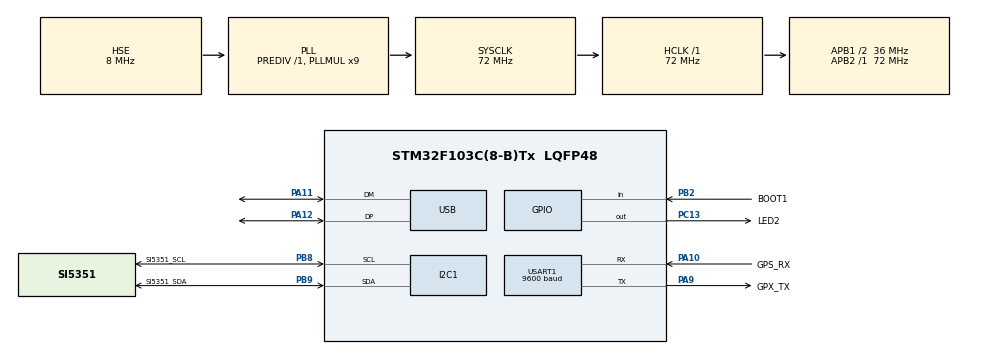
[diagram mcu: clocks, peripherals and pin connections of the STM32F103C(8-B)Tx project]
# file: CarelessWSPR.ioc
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FREERTOS.INCLUDE_uxTaskGetStackHighWaterMark=1
FREERTOS.MEMORY_ALLOCATION=2
FREERTOS.Tasks01=defaultTask,0,128,StartDefaultTask,Default,NULL,Static,defaultTaskBuffer,defaultTaskControlBlock
FREERTOS.configCHECK_FOR_STACK_OVERFLOW=2
FREERTOS.configGENERATE_RUN_TIME_STATS=0
FREERTOS.configRECORD_STACK_HIGH_ADDRESS=0
FREERTOS.configTOTAL_HEAP_SIZE=4096
FREERTOS.configUSE_MALLOC_FAILED_HOOK=1
I2C1.I2C_Mode=I2C_Fast
Mcu.Family=STM32F1
Mcu.Name=STM32F103C(8-B)Tx
Mcu.Package=LQFP48
NVIC.I2C1_ER_IRQn=true\:5\:0\:false\:false\:true\:true\:true\:true
NVIC.I2C1_EV_IRQn=true\:5\:0\:false\:false\:true\:true\:true\:true
NVIC.PriorityGroup=NVIC_PRIORITYGROUP_4
NVIC.RTC_Alarm_IRQn=true\:5\:0\:false\:false\:true\:true\:true\:true
NVIC.TIM2_IRQn=true\:0\:0\:false\:false\:true\:false\:false\:true
NVIC.TIM4_IRQn=true\:5\:0\:false\:false\:true\:true\:true\:true
NVIC.TimeBase=TIM2_IRQn
NVIC.TimeBaseIP=TIM2
NVIC.USART1_IRQn=true\:5\:0\:false\:false\:true\:true\:true\:true
NVIC.USB_LP_CAN1_RX0_IRQn=true\:5\:0\:false\:false\:true\:true\:true\:true
PA10.GPIO_Label=GPS_RX
PA10.Mode=Asynchronous
PA10.Signal=USART1_RX
PA11.Mode=Device
PA11.Signal=USB_DM
PA12.Mode=Device
PA12.Signal=USB_DP
PA13.Mode=Serial_Wire
PA13.Signal=SYS_JTMS-SWDIO
PA14.Mode=Serial_Wire
PA14.Signal=SYS_JTCK-SWCLK
PA9.GPIO_Label=GPX_TX
PA9.Mode=Asynchronous
PA9.Signal=USART1_TX
PB2.GPIO_Label=BOOT1
PB2.Signal=GPIO_Input
PB8.GPIO_Label=SI5351_SCL
PB8.Mode=I2C
PB8.Signal=I2C1_SCL
PB9.GPIO_Label=SI5351_SDA
PB9.Mode=I2C
PB9.Signal=I2C1_SDA
PC13-TAMPER-RTC.GPIO_Label=LED2
PC13-TAMPER-RTC.PinState=GPIO_PIN_SET
PC13-TAMPER-RTC.Signal=GPIO_Output
PC14-OSC32_IN.Mode=LSE-External-Oscillator
PC14-OSC32_IN.Signal=RCC_OSC32_IN
PC15-OSC32_OUT.Mode=LSE-External-Oscillator
PC15-OSC32_OUT.Signal=RCC_OSC32_OUT
PD0-OSC_IN.Mode=HSE-External-Oscillator
PD0-OSC_IN.Signal=RCC_OSC_IN
PD1-OSC_OUT.Mode=HSE-External-Oscillator
PD1-OSC_OUT.Signal=RCC_OSC_OUT
ProjectManager.HeapSize=0x200
ProjectManager.StackSize=0x400
ProjectManager.TargetToolchain=SW4STM32
RCC.AHBFreq_Value=72000000
RCC.APB1CLKDivider=RCC_HCLK_DIV2
RCC.APB1Freq_Value=36000000
RCC.APB1TimFreq_Value=72000000
RCC.APB2Freq_Value=72000000
RCC.APB2TimFreq_Value=72000000
RCC.HCLKFreq_Value=72000000
RCC.PLLMUL=RCC_PLL_MUL9
RCC.RTCClockSelection=RCC_RTCCLKSOURCE_LSE
RCC.SYSCLKFreq_VALUE=72000000
RCC.SYSCLKSource=RCC_SYSCLKSOURCE_PLLCLK
RCC.USBFreq_Value=48000000
RCC.USBPrescaler=RCC_USBCLKSOURCE_PLL_DIV1_5
RTC.Date=26
RTC.Format=RTC_FORMAT_BIN
RTC.Month=RTC_MONTH_JULY
RTC.WeekDay=RTC_WEEKDAY_FRIDAY
RTC.Year=19
TIM4.Period=11999
TIM4.Prescaler=4095
USART1.BaudRate=9600
USART1.Mode=MODE_TX_RX
USART1.VirtualMode=VM_ASYNC
USB_DEVICE.CLASS_NAME_FS=CDC
USB_DEVICE.VirtualMode=Cdc
USB_DEVICE.VirtualModeFS=Cdc_FS
VP_FREERTOS_VS_CMSIS_V1.Mode=CMSIS_V1
VP_RTC_No_RTC_Output.Mode=RTC_OUT_NO
VP_RTC_VS_RTC_Activate.Mode=RTC_Enabled
VP_SYS_VS_tim2.Mode=TIM2
VP_TIM4_VS_ClockSourceINT.Mode=Internal
VP_USB_DEVICE_VS_USB_DEVICE_CDC_FS.Mode=CDC_FS
board=BluePill

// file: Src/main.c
/* USER CODE BEGIN Header */
/**
  ******************************************************************************
  * @file           : main.c
  * @brief          : Main program body
  ******************************************************************************
  * @attention
  *
  * <h2><center>&copy; Copyright (c) 2019 STMicroelectronics.
  * All rights reserved.</center></h2>
  *
  * This software component is licensed by ST under Ultimate Liberty license
  * SLA0044, the "License"; You may not use this file except in compliance with
  * the License. You may obtain a copy of the License at:
  *                             www.st.com/SLA0044
  *
  ******************************************************************************
  */
/* USER CODE END Header */

#include "main.h"
#include "cmsis_os.h"
#include "usb_device.h"

/* USER CODE BEGIN Includes */

#include "usbd_cdc.h"	//just for the XXX_USBCDC_PresenceHack()
#include "system_interfaces.h"
#include "serial_devices.h"
#include "util_circbuff2.h"

#include "lamps.h"
#include "task_notification_bits.h"

#include "CarelessWSPR_settings.h"

#include "task_monitor.h"
#include "task_gps.h"
#include "task_wspr.h"

#include "maidenhead.h"
#include "si5351a.h"
#include "wspr.h"

#include "backup_registers.h"

#ifndef COUNTOF
#define COUNTOF(arr) (sizeof(arr)/sizeof(arr[0]))
#endif

//This controls whether we use the FreeRTOS heap implementation to also provide
//the libc malloc() and friends.
#define USE_FREERTOS_HEAP_IMPL 1

volatile int dummy;	//XXX for debugging; delete
#ifdef DEBUG
volatile size_t g_nHeapFree;
volatile size_t g_nMinEverHeapFree;
volatile int g_nMaxGPSRxQueue;
volatile int g_nMaxCDCTxQueue;
volatile int g_nMaxCDCRxQueue;
volatile int g_nMinStackFreeDefault;
volatile int g_nMinStackFreeMonitor;
volatile int g_nMinStackFreeGPS;
volatile int g_nMinStackFreeWSPR;
#endif

#if USE_FREERTOS_HEAP_IMPL

#if configAPPLICATION_ALLOCATED_HEAP
//we define our heap (to be used by FreeRTOS heap_4.c implementation) to be
//exactly where we want it to be.
__attribute__((aligned(8)))
uint8_t ucHeap[ configTOTAL_HEAP_SIZE ];
#endif
//we implemented a 'realloc' for a heap_4 derived implementation
extern void* pvPortRealloc( void* pvOrig, size_t xWantedSize );
//we implemented a 'heapwalk' function
typedef int (*CBK_HEAPWALK) ( void* pblk, uint32_t nBlkSize, int bIsFree, void* pinst );
extern int vPortHeapWalk ( CBK_HEAPWALK pfnWalk, void* pinst );

//'wrapped functions' for library interpositioning
//you must specify these gcc (linker-directed) options to cause the wrappers'
//delights to be generated:

//-Wl,--wrap,malloc -Wl,--wrap,free -Wl,--wrap,realloc -Wl,--wrap,calloc
//-Wl,--wrap,_malloc_r -Wl,--wrap,_free_r -Wl,--wrap,_realloc_r -Wl,--wrap,_calloc_r

//hmm; can I declare these 'inline' and save a little code and stack?
void* __wrap_malloc ( size_t size ) { return pvPortMalloc ( size ); }
void __wrap_free ( void* pv ) { vPortFree ( pv ); }
void* __wrap_realloc ( void* pv, size_t size ) { return pvPortRealloc ( pv, size ); }

void* __wrap__malloc_r ( struct _reent* r, size_t size ) { return pvPortMalloc ( size ); }
void __wrap__free_r ( struct _reent* r, void* pv ) { vPortFree ( pv ); }
void* __wrap__realloc_r ( struct _reent* r, void* pv, size_t size ) { return pvPortRealloc ( pv, size ); }

#endif

/* USER CODE END Includes */

I2C_HandleTypeDef hi2c1;

RTC_HandleTypeDef hrtc;

TIM_HandleTypeDef htim4;

UART_HandleTypeDef huart1;

osThreadId defaultTaskHandle;
uint32_t defaultTaskBuffer[ 128 ];
osStaticThreadDef_t defaultTaskControlBlock;

void SystemClock_Config(void);
static void MX_GPIO_Init(void);
static void MX_RTC_Init(void);
static void MX_I2C1_Init(void);
static void MX_USART1_UART_Init(void);
static void MX_TIM4_Init(void);
void StartDefaultTask(void const * argument);

int main(void)
{
  /* USER CODE BEGIN 1 */
	//enable the core debug cycle counter to be used as a precision timer
	CoreDebug->DEMCR |= CoreDebug_DEMCR_TRCENA_Msk;
	DWT->CYCCNT = 0;
	DWT->CTRL |= DWT_CTRL_CYCCNTENA_Msk;
  /* USER CODE END 1 */

  /* MCU Configuration--------------------------------------------------------*/

  /* Reset of all peripherals, Initializes the Flash interface and the Systick. */
  HAL_Init();

  /* USER CODE BEGIN Init */

	//if you get a linker fail on the following, it is because some manual
	//changes to:
	//  .\Middlewares\ST\STM32_USB_Device_Library\Class\CDC\Inc\usbd_cdc.h
	//  .\Middlewares\ST\STM32_USB_Device_Library\Class\CDC\Src\usbd_cdc.c
	//  .\Src\usbd_cdc_if.c
	//must be applied.  There are backups of those files to help with that.
	//This has to be done manually, because the changes are in tool generated
	//code that gets overwritten when you re-run STM32CubeMX.  The nature of
	//those changes are such that when they are overwritten, you will still
	//be able to build but stuff won't work at runtime.  This hack will cause
	//the build to fail if you forget to merge those changes back on, thus
	//prompting you to do so.
	//Sorry for the inconvenience, but I don't think there is any better way
	//of making it obvious that this chore simply must be done.
	XXX_USBCDC_PresenceHack();	//this does nothing real; do not delete

  /* USER CODE END Init */

  /* Configure the system clock */
  SystemClock_Config();

  /* USER CODE BEGIN SysInit */

	//do a dummy alloc to cause the heap to be init'ed and so the memory stats as well
	vPortFree ( pvPortMalloc ( 0 ) );

	//get system config depersisted from flash before we do much more
	Settings_depersist();

  /* USER CODE END SysInit */

  /* Initialize all configured peripherals */
  MX_GPIO_Init();
  MX_RTC_Init();
  MX_I2C1_Init();
  MX_USART1_UART_Init();
  MX_TIM4_Init();

  /* Create the thread(s) */
  /* definition and creation of defaultTask */
  osThreadStaticDef(defaultTask, StartDefaultTask, osPriorityNormal, 0, 128, defaultTaskBuffer, &defaultTaskControlBlock);
  defaultTaskHandle = osThreadCreate(osThread(defaultTask), NULL);

  /* Start scheduler */
  osKernelStart();

  /* We should never get here as control is now taken by the scheduler */

  /* Infinite loop */
  while (1)
  {

  }
}

void SystemClock_Config(void)
{
  RCC_OscInitTypeDef RCC_OscInitStruct = {0};
  RCC_ClkInitTypeDef RCC_ClkInitStruct = {0};
  RCC_PeriphCLKInitTypeDef PeriphClkInit = {0};

  /** Initializes the CPU, AHB and APB busses clocks
  */
  RCC_OscInitStruct.OscillatorType = RCC_OSCILLATORTYPE_HSE|RCC_OSCILLATORTYPE_LSE;
  RCC_OscInitStruct.HSEState = RCC_HSE_ON;
  RCC_OscInitStruct.HSEPredivValue = RCC_HSE_PREDIV_DIV1;
  RCC_OscInitStruct.LSEState = RCC_LSE_ON;
  RCC_OscInitStruct.HSIState = RCC_HSI_ON;
  RCC_OscInitStruct.PLL.PLLState = RCC_PLL_ON;
  RCC_OscInitStruct.PLL.PLLSource = RCC_PLLSOURCE_HSE;
  RCC_OscInitStruct.PLL.PLLMUL = RCC_PLL_MUL9;
  if (HAL_RCC_OscConfig(&RCC_OscInitStruct) != HAL_OK)
  {
    Error_Handler();
  }
  /** Initializes the CPU, AHB and APB busses clocks
  */
  RCC_ClkInitStruct.ClockType = RCC_CLOCKTYPE_HCLK|RCC_CLOCKTYPE_SYSCLK
                              |RCC_CLOCKTYPE_PCLK1|RCC_CLOCKTYPE_PCLK2;
  RCC_ClkInitStruct.SYSCLKSource = RCC_SYSCLKSOURCE_PLLCLK;
  RCC_ClkInitStruct.AHBCLKDivider = RCC_SYSCLK_DIV1;
  RCC_ClkInitStruct.APB1CLKDivider = RCC_HCLK_DIV2;
  RCC_ClkInitStruct.APB2CLKDivider = RCC_HCLK_DIV1;

  if (HAL_RCC_ClockConfig(&RCC_ClkInitStruct, FLASH_LATENCY_2) != HAL_OK)
  {
    Error_Handler();
  }
  PeriphClkInit.PeriphClockSelection = RCC_PERIPHCLK_RTC|RCC_PERIPHCLK_USB;
  PeriphClkInit.RTCClockSelection = RCC_RTCCLKSOURCE_LSE;
  PeriphClkInit.UsbClockSelection = RCC_USBCLKSOURCE_PLL_DIV1_5;
  if (HAL_RCCEx_PeriphCLKConfig(&PeriphClkInit) != HAL_OK)
  {
    Error_Handler();
  }
}

static void MX_I2C1_Init(void)
{

  hi2c1.Instance = I2C1;
  hi2c1.Init.ClockSpeed = 400000;
  hi2c1.Init.DutyCycle = I2C_DUTYCYCLE_2;
  hi2c1.Init.OwnAddress1 = 0;
  hi2c1.Init.AddressingMode = I2C_ADDRESSINGMODE_7BIT;
  hi2c1.Init.DualAddressMode = I2C_DUALADDRESS_DISABLE;
  hi2c1.Init.OwnAddress2 = 0;
  hi2c1.Init.GeneralCallMode = I2C_GENERALCALL_DISABLE;
  hi2c1.Init.NoStretchMode = I2C_NOSTRETCH_DISABLE;
  if (HAL_I2C_Init(&hi2c1) != HAL_OK)
  {
    Error_Handler();
  }

}

static void MX_RTC_Init(void)
{

  RTC_TimeTypeDef sTime = {0};
  RTC_DateTypeDef DateToUpdate = {0};

  /** Initialize RTC Only
  */
  hrtc.Instance = RTC;
  hrtc.Init.AsynchPrediv = RTC_AUTO_1_SECOND;
  hrtc.Init.OutPut = RTC_OUTPUTSOURCE_NONE;
  if (HAL_RTC_Init(&hrtc) != HAL_OK)
  {
    Error_Handler();
  }

  /* USER CODE BEGIN Check_RTC_BKUP */
	//we use one of the 'backup registers' to store some flags; the 'RTC set'
	//is used to indicate we have set the clock at some point.  If this flag is
	//set in the backup register, then we have /not power-cycled the board, and
	//so we avoid the generated code, below which will blast the RTC setting.
	HAL_PWR_EnableBkUpAccess();	//... and leave it that way
	uint32_t flags = HAL_RTCEx_BKUPRead ( &hrtc, FLAGS_REGISTER );
	if ( ! ( flags & FLAG_HAS_SET_RTC ) )
	{	//ugly hack to skip needlessly setting the RTC via generated code
  /* USER CODE END Check_RTC_BKUP */

  /** Initialize RTC and set the Time and Date
  */
  sTime.Hours = 0;
  sTime.Minutes = 0;
  sTime.Seconds = 0;

  if (HAL_RTC_SetTime(&hrtc, &sTime, RTC_FORMAT_BIN) != HAL_OK)
  {
    Error_Handler();
  }
  DateToUpdate.WeekDay = RTC_WEEKDAY_FRIDAY;
  DateToUpdate.Month = RTC_MONTH_JULY;
  DateToUpdate.Date = 26;
  DateToUpdate.Year = 19;

  if (HAL_RTC_SetDate(&hrtc, &DateToUpdate, RTC_FORMAT_BIN) != HAL_OK)
  {
    Error_Handler();
  }
  /* USER CODE BEGIN RTC_Init 2 */
	}
else
	{
		//If we have reset or woken up but aren't going to set the RTC because
		//it was already set, then we at least need to do the following or we
		//won't ever be able to write to the RTC (e.g. for setting alarm)
		//NOTE:  on the 'F1's, the RTC is 'V1', which means that there is not
		//date.  The date is emulated in software, and so is lost on reset,
		//etc.  Fortunately, we don't really care about date in WSPR -- just
		//time.
		HAL_RTC_WaitForSynchro(&hrtc);
	}	//end ugly hack to avoid some generated code

  /* USER CODE END RTC_Init 2 */

}

static void MX_TIM4_Init(void)
{

  TIM_ClockConfigTypeDef sClockSourceConfig = {0};
  TIM_MasterConfigTypeDef sMasterConfig = {0};

  htim4.Instance = TIM4;
  htim4.Init.Prescaler = 4095;
  htim4.Init.CounterMode = TIM_COUNTERMODE_UP;
  htim4.Init.Period = 11999;
  htim4.Init.ClockDivision = TIM_CLOCKDIVISION_DIV1;
  htim4.Init.AutoReloadPreload = TIM_AUTORELOAD_PRELOAD_DISABLE;
  if (HAL_TIM_Base_Init(&htim4) != HAL_OK)
  {
    Error_Handler();
  }
  sClockSourceConfig.ClockSource = TIM_CLOCKSOURCE_INTERNAL;
  if (HAL_TIM_ConfigClockSource(&htim4, &sClockSourceConfig) != HAL_OK)
  {
    Error_Handler();
  }
  sMasterConfig.MasterOutputTrigger = TIM_TRGO_RESET;
  sMasterConfig.MasterSlaveMode = TIM_MASTERSLAVEMODE_DISABLE;
  if (HAL_TIMEx_MasterConfigSynchronization(&htim4, &sMasterConfig) != HAL_OK)
  {
    Error_Handler();
  }

}

static void MX_USART1_UART_Init(void)
{

  huart1.Instance = USART1;
  huart1.Init.BaudRate = 9600;
  huart1.Init.WordLength = UART_WORDLENGTH_8B;
  huart1.Init.StopBits = UART_STOPBITS_1;
  huart1.Init.Parity = UART_PARITY_NONE;
  huart1.Init.Mode = UART_MODE_TX_RX;
  huart1.Init.HwFlowCtl = UART_HWCONTROL_NONE;
  huart1.Init.OverSampling = UART_OVERSAMPLING_16;
  if (HAL_UART_Init(&huart1) != HAL_OK)
  {
    Error_Handler();
  }

}

static void MX_GPIO_Init(void)
{
  GPIO_InitTypeDef GPIO_InitStruct = {0};

  /* GPIO Ports Clock Enable */
  __HAL_RCC_GPIOC_CLK_ENABLE();
  __HAL_RCC_GPIOD_CLK_ENABLE();
  __HAL_RCC_GPIOA_CLK_ENABLE();
  __HAL_RCC_GPIOB_CLK_ENABLE();

  /*Configure GPIO pin Output Level */
  HAL_GPIO_WritePin(LED2_GPIO_Port, LED2_Pin, GPIO_PIN_SET);

  /*Configure GPIO pin : LED2_Pin */
  GPIO_InitStruct.Pin = LED2_Pin;
  GPIO_InitStruct.Mode = GPIO_MODE_OUTPUT_PP;
  GPIO_InitStruct.Pull = GPIO_NOPULL;
  GPIO_InitStruct.Speed = GPIO_SPEED_FREQ_LOW;
  HAL_GPIO_Init(LED2_GPIO_Port, &GPIO_InitStruct);

  /*Configure GPIO pins : PA0 PA1 PA2 PA3
                           PA4 PA5 PA6 PA7
                           PA8 PA15 */
  GPIO_InitStruct.Pin = GPIO_PIN_0|GPIO_PIN_1|GPIO_PIN_2|GPIO_PIN_3
                          |GPIO_PIN_4|GPIO_PIN_5|GPIO_PIN_6|GPIO_PIN_7
                          |GPIO_PIN_8|GPIO_PIN_15;
  GPIO_InitStruct.Mode = GPIO_MODE_ANALOG;
  HAL_GPIO_Init(GPIOA, &GPIO_InitStruct);

  /*Configure GPIO pins : PB0 PB1 PB10 PB11
                           PB12 PB13 PB14 PB15
                           PB3 PB4 PB5 PB6
                           PB7 */
  GPIO_InitStruct.Pin = GPIO_PIN_0|GPIO_PIN_1|GPIO_PIN_10|GPIO_PIN_11
                          |GPIO_PIN_12|GPIO_PIN_13|GPIO_PIN_14|GPIO_PIN_15
                          |GPIO_PIN_3|GPIO_PIN_4|GPIO_PIN_5|GPIO_PIN_6
                          |GPIO_PIN_7;
  GPIO_InitStruct.Mode = GPIO_MODE_ANALOG;
  HAL_GPIO_Init(GPIOB, &GPIO_InitStruct);

  /*Configure GPIO pin : BOOT1_Pin */
  GPIO_InitStruct.Pin = BOOT1_Pin;
  GPIO_InitStruct.Mode = GPIO_MODE_INPUT;
  GPIO_InitStruct.Pull = GPIO_NOPULL;
  HAL_GPIO_Init(BOOT1_GPIO_Port, &GPIO_InitStruct);

}

/* USER CODE BEGIN 4 */

//====================================================

//this is made a function simply for tidiness, and locals lifetime
void __startWorkerTasks ( void )
{
	//kick off the monitor thread, which handles the user interactions
	{
	osThreadStaticDef(taskMonitor, thrdfxnMonitorTask, osPriorityNormal, 0, COUNTOF(g_tbMonitor), g_tbMonitor, &g_tcbMonitor);
	g_thMonitor = osThreadCreate(osThread(taskMonitor), NULL);
	}

	//kick off the GPS thread, which handles incoming NMEA data
	{
	osThreadStaticDef(taskGPS, thrdfxnGPSTask, osPriorityNormal, 0, COUNTOF(g_tbGPS), g_tbGPS, &g_tcbGPS);
	g_thGPS = osThreadCreate(osThread(taskGPS), NULL);
	}

	//kick off WSPR thread, which performs WSPR sending
	{
	osThreadStaticDef(taskWSPR, thrdfxnWSPRTask, osPriorityNormal, 0, COUNTOF(g_tbWSPR), g_tbWSPR, &g_tcbWSPR);
	g_thWSPR = osThreadCreate(osThread(taskWSPR), NULL);
	}
}

//====================================================

void vApplicationStackOverflowHook(xTaskHandle xTask, signed char *pcTaskName)
{
	/* Run time stack overflow checking is performed if
	configCHECK_FOR_STACK_OVERFLOW is defined to 1 or 2. This hook function is
	called if a stack overflow is detected. */
	volatile int i = 0;
	(void)i;
}

void vApplicationMallocFailedHook(void)
{
	/* vApplicationMallocFailedHook() will only be called if
	configUSE_MALLOC_FAILED_HOOK is set to 1 in FreeRTOSConfig.h. It is a hook
	function that will get called if a call to pvPortMalloc() fails.
	pvPortMalloc() is called internally by the kernel whenever a task, queue,
	timer or semaphore is created. It is also called by various parts of the
	demo application. If heap_1.c or heap_2.c are used, then the size of the
	heap available to pvPortMalloc() is defined by configTOTAL_HEAP_SIZE in
	FreeRTOSConfig.h, and the xPortGetFreeHeapSize() API function can be used
	to query the size of free heap space that remains (although it does not
	provide information on how the remaining heap might be fragmented). */
	volatile int i = 0;
	(void)i;
}

//====================================================
//EXTI support

void HAL_GPIO_EXTI_Callback(uint16_t GPIO_Pin)
{
/*
	switch ( GPIO_Pin )
	{
		default:
			//XXX que?
		break;
	}
*/
}

void HAL_RTC_AlarmAEventCallback(RTC_HandleTypeDef *hrtc)
{
	//We use the RTC alarm to schedule a WSPR transmission start
	WSPR_RTC_Alarm();
}

/* USER CODE END 4 */

void StartDefaultTask(void const * argument)
{

  /* init code for USB_DEVICE */
  MX_USB_DEVICE_Init();

  /* USER CODE BEGIN 5 */

	//init the synth now
	si5351aInit();

	//initialize the WSPR engine
	WSPR_Initialize();

	//crank up serial ports
	//XXX (I wonder if this is best way up in main at least for USB; I ask
	//because the MX_USB_DEVICE_Init() above could conceivably stimulate
	//action on these buffers before they have been initialized
	UART1_Init();	//UART1 == GPS
	USBCDC_Init();	//CDC == monitor

	//bind the interfaces to the relevant devices
	g_pMonitorIOIf = &g_pifCDC;		//monitor is on USB CDC
	g_pGPSIOIf = &g_pifUART1;		//GPS is on UART1
	//light some lamps on a countdown
	LightLamp ( 1000, &g_lltGn, _ledOnGn );

	//start up worker threads
	__startWorkerTasks();

	//================================================
	//continue running this task
	//This task, the 'default' task, was generated by the tool, and it's easier
	//to just keep it than to fight the tool to destroy it (though some of that
	//fighting can be made a little easier if it was dynamically allocated,
	//then just exited).  We repurpose it after init to handle the lamps and
	//periodically sample performance data (useful for tuning pre-release).

	//Infinite loop
	uint32_t msWait = 1000;
	for(;;)
	{
		//wait on various task notifications
		uint32_t ulNotificationValue;
		BaseType_t xResult = xTaskNotifyWait( pdFALSE,	//Don't clear bits on entry.
				0xffffffff,	//Clear all bits on exit.
				&ulNotificationValue,	//Stores the notified value.
				pdMS_TO_TICKS(msWait) );
		if( xResult == pdPASS )
		{
			//the lights have changed
			if ( ulNotificationValue & TNB_LIGHTSCHANGED )
			{
				//XXX
			}
		}
		else	//timeout on wait
		{
			//XXX things to do on periodic idle timeout
		}

#ifdef DEBUG
		//XXX these are to tune the freertos heap size; if we have a heap
#if USE_FREERTOS_HEAP_IMPL
		g_nHeapFree = xPortGetFreeHeapSize();
		g_nMinEverHeapFree = xPortGetMinimumEverFreeHeapSize();
#else
		g_nMinEverHeapFree = (char*)platform_get_last_free_ram( 0 ) - (char*)platform_get_first_free_ram( 0 );
#endif
		g_nMaxGPSRxQueue = UART1_rxbuff_max();
		g_nMaxCDCTxQueue = CDC_txbuff_max();
		g_nMaxCDCRxQueue = CDC_rxbuff_max();
		//free stack space measurements
		g_nMinStackFreeDefault = uxTaskGetStackHighWaterMark ( defaultTaskHandle );
		g_nMinStackFreeMonitor = uxTaskGetStackHighWaterMark ( g_thMonitor );
		g_nMinStackFreeGPS = uxTaskGetStackHighWaterMark ( g_thGPS );
		g_nMinStackFreeWSPR = uxTaskGetStackHighWaterMark ( g_thWSPR );
		//XXX others
#endif

		//turn out the lights, the party's over
		uint32_t now = HAL_GetTick();
		uint32_t remMin = 0xffffffff;	//nothing yet
		ProcessLightOffTime ( now, &remMin, &g_lltGn, _ledOffGn );

		//don't wait longer than 3 sec
		if ( remMin > 3000 )
			remMin = 3000;

		msWait = remMin;
	}

  /* USER CODE END 5 */
}

void HAL_TIM_PeriodElapsedCallback(TIM_HandleTypeDef *htim)
{
  if (htim->Instance == TIM2) {
    HAL_IncTick();
  }
  /* USER CODE BEGIN Callback 1 */

	else if (htim->Instance == TIM4)
	{
		//we use TIM4 for WSPR bit pacing
		WSPR_Timer_Timeout();
	}

  /* USER CODE END Callback 1 */
}

void Error_Handler(void)
{
  /* USER CODE BEGIN Error_Handler_Debug */
  /* User can add his own implementation to report the HAL error return state */
	volatile int i = 0;
	(void)i;
  /* USER CODE END Error_Handler_Debug */
}

#ifdef  USE_FULL_ASSERT
/**
  * @brief  Reports the name of the source file and the source line number
  *         where the assert_param error has occurred.
  * @param  file: pointer to the source file name
  * @param  line: assert_param error line source number
  * @retval None
  */
void assert_failed(uint8_t *file, uint32_t line)
{
  /* USER CODE BEGIN 6 */
  /* User can add his own implementation to report the file name and line number,
     tex: printf("Wrong parameters value: file %s on line %d\r\n", file, line) */
	volatile int i = 0;
	(void)i;
  /* USER CODE END 6 */
}
#endif /* USE_FULL_ASSERT */

/************************ (C) COPYRIGHT STMicroelectronics *****END OF FILE****/
